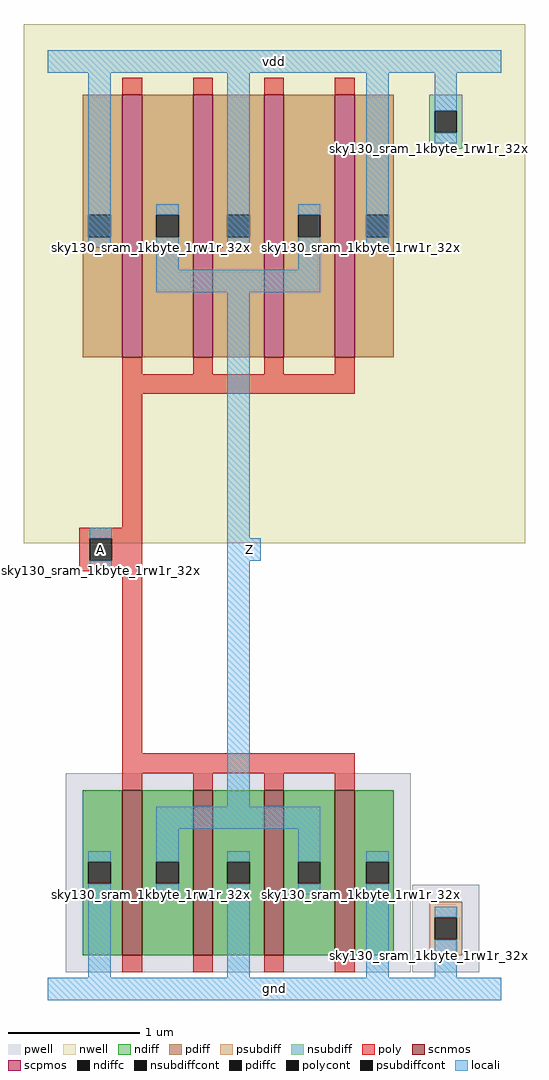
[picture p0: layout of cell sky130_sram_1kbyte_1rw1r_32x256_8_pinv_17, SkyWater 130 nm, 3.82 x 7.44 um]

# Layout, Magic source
magic
tech sky130A
magscale 1 2
<< nwell >>
rect -36 679 728 1471
<< pwell >>
rect 556 25 658 159
<< psubdiff >>
rect 582 109 632 133
rect 582 75 590 109
rect 624 75 632 109
rect 582 51 632 75
<< nsubdiff >>
rect 582 1339 632 1363
rect 582 1305 590 1339
rect 624 1305 632 1339
rect 582 1281 632 1305
<< psubdiffcont >>
rect 590 75 624 109
<< nsubdiffcont >>
rect 590 1305 624 1339
<< poly >>
rect 114 703 144 907
rect 48 687 144 703
rect 48 653 64 687
rect 98 653 144 687
rect 48 637 144 653
rect 114 359 144 637
<< polycont >>
rect 64 653 98 687
<< locali >>
rect 0 1397 692 1431
rect 62 1130 96 1397
rect 274 1130 308 1397
rect 486 1130 520 1397
rect 590 1339 624 1397
rect 590 1289 624 1305
rect 64 687 98 703
rect 64 637 98 653
rect 274 687 308 1096
rect 274 653 325 687
rect 274 244 308 653
rect 62 17 96 144
rect 274 17 308 144
rect 486 17 520 144
rect 590 109 624 125
rect 590 17 624 75
rect 0 -17 692 17
use sky130_sram_1kbyte_1rw1r_32x256_8_contact_16  sky130_sram_1kbyte_1rw1r_32x256_8_contact_16_0
transform 1 0 48 0 1 637
box 0 0 1 1
use sky130_sram_1kbyte_1rw1r_32x256_8_contact_29  sky130_sram_1kbyte_1rw1r_32x256_8_contact_29_0
transform 1 0 582 0 1 51
box 0 0 1 1
use sky130_sram_1kbyte_1rw1r_32x256_8_contact_28  sky130_sram_1kbyte_1rw1r_32x256_8_contact_28_0
transform 1 0 582 0 1 1281
box 0 0 1 1
use sky130_sram_1kbyte_1rw1r_32x256_8_nmos_m4_w1_260_sli_dli_da_p  sky130_sram_1kbyte_1rw1r_32x256_8_nmos_m4_w1_260_sli_dli_da_p_0
transform 1 0 54 0 1 51
box -26 -26 500 308
use sky130_sram_1kbyte_1rw1r_32x256_8_pmos_m4_w2_000_sli_dli_da_p  sky130_sram_1kbyte_1rw1r_32x256_8_pmos_m4_w2_000_sli_dli_da_p_0
transform 1 0 54 0 1 963
box -59 -56 533 454
<< labels >>
rlabel locali s 81 670 81 670 4 A
port 1 nsew
rlabel locali s 308 670 308 670 4 Z
port 2 nsew
rlabel locali s 346 0 346 0 4 gnd
port 3 nsew
rlabel locali s 346 1414 346 1414 4 vdd
port 4 nsew
<< properties >>
string FIXED_BBOX 0 0 692 1414
string GDS_FILE $PDKPATH/libs.ref/sky130_sram_macros/gds/sky130_sram_1kbyte_1rw1r_32x256_8.gds
string GDS_END 355068
string GDS_START 352942
<< end >>

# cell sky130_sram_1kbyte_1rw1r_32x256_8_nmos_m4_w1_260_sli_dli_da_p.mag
magic
tech sky130A
magscale 1 2
<< pwell >>
rect -26 -26 500 278
<< scnmos >>
rect 60 0 90 252
rect 168 0 198 252
rect 276 0 306 252
rect 384 0 414 252
<< ndiff >>
rect 0 143 60 252
rect 0 109 8 143
rect 42 109 60 143
rect 0 0 60 109
rect 90 143 168 252
rect 90 109 112 143
rect 146 109 168 143
rect 90 0 168 109
rect 198 143 276 252
rect 198 109 220 143
rect 254 109 276 143
rect 198 0 276 109
rect 306 143 384 252
rect 306 109 328 143
rect 362 109 384 143
rect 306 0 384 109
rect 414 143 474 252
rect 414 109 432 143
rect 466 109 474 143
rect 414 0 474 109
<< ndiffc >>
rect 8 109 42 143
rect 112 109 146 143
rect 220 109 254 143
rect 328 109 362 143
rect 432 109 466 143
<< poly >>
rect 60 278 414 308
rect 60 252 90 278
rect 168 252 198 278
rect 276 252 306 278
rect 384 252 414 278
rect 60 -26 90 0
rect 168 -26 198 0
rect 276 -26 306 0
rect 384 -26 414 0
<< locali >>
rect 112 193 362 227
rect 8 143 42 159
rect 8 93 42 109
rect 112 143 146 193
rect 112 93 146 109
rect 220 143 254 159
rect 220 93 254 109
rect 328 143 362 193
rect 328 93 362 109
rect 432 143 466 159
rect 432 93 466 109
use sky130_sram_1kbyte_1rw1r_32x256_8_contact_11  sky130_sram_1kbyte_1rw1r_32x256_8_contact_11_0
transform 1 0 424 0 1 93
box 0 0 1 1
use sky130_sram_1kbyte_1rw1r_32x256_8_contact_11  sky130_sram_1kbyte_1rw1r_32x256_8_contact_11_1
transform 1 0 320 0 1 93
box 0 0 1 1
use sky130_sram_1kbyte_1rw1r_32x256_8_contact_11  sky130_sram_1kbyte_1rw1r_32x256_8_contact_11_2
transform 1 0 212 0 1 93
box 0 0 1 1
use sky130_sram_1kbyte_1rw1r_32x256_8_contact_11  sky130_sram_1kbyte_1rw1r_32x256_8_contact_11_3
transform 1 0 104 0 1 93
box 0 0 1 1
use sky130_sram_1kbyte_1rw1r_32x256_8_contact_11  sky130_sram_1kbyte_1rw1r_32x256_8_contact_11_4
transform 1 0 0 0 1 93
box 0 0 1 1
<< labels >>
rlabel locali s 237 126 237 126 4 S
port 1 nsew
rlabel locali s 449 126 449 126 4 S
port 1 nsew
rlabel locali s 25 126 25 126 4 S
port 1 nsew
rlabel locali s 237 210 237 210 4 D
port 2 nsew
rlabel poly s 237 293 237 293 4 G
port 3 nsew
<< properties >>
string FIXED_BBOX -25 -26 499 308
string GDS_FILE $PDKPATH/libs.ref/sky130_sram_macros/gds/sky130_sram_1kbyte_1rw1r_32x256_8.gds
string GDS_END 95778
string GDS_START 94224
<< end >>

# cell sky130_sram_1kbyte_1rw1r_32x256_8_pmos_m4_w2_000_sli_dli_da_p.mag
magic
tech sky130A
magscale 1 2
<< nwell >>
rect -54 284 528 454
rect -59 116 533 284
rect -54 -54 528 116
<< scpmos >>
rect 60 0 90 400
rect 168 0 198 400
rect 276 0 306 400
rect 384 0 414 400
<< pdiff >>
rect 0 217 60 400
rect 0 183 8 217
rect 42 183 60 217
rect 0 0 60 183
rect 90 217 168 400
rect 90 183 112 217
rect 146 183 168 217
rect 90 0 168 183
rect 198 217 276 400
rect 198 183 220 217
rect 254 183 276 217
rect 198 0 276 183
rect 306 217 384 400
rect 306 183 328 217
rect 362 183 384 217
rect 306 0 384 183
rect 414 217 474 400
rect 414 183 432 217
rect 466 183 474 217
rect 414 0 474 183
<< pdiffc >>
rect 8 183 42 217
rect 112 183 146 217
rect 220 183 254 217
rect 328 183 362 217
rect 432 183 466 217
<< poly >>
rect 60 400 90 426
rect 168 400 198 426
rect 276 400 306 426
rect 384 400 414 426
rect 60 -26 90 0
rect 168 -26 198 0
rect 276 -26 306 0
rect 384 -26 414 0
rect 60 -56 414 -26
<< locali >>
rect 8 217 42 233
rect 8 167 42 183
rect 112 217 146 233
rect 112 133 146 183
rect 220 217 254 233
rect 220 167 254 183
rect 328 217 362 233
rect 328 133 362 183
rect 432 217 466 233
rect 432 167 466 183
rect 112 99 362 133
use sky130_sram_1kbyte_1rw1r_32x256_8_contact_12  sky130_sram_1kbyte_1rw1r_32x256_8_contact_12_0
transform 1 0 424 0 1 167
box 0 0 1 1
use sky130_sram_1kbyte_1rw1r_32x256_8_contact_12  sky130_sram_1kbyte_1rw1r_32x256_8_contact_12_1
transform 1 0 320 0 1 167
box 0 0 1 1
use sky130_sram_1kbyte_1rw1r_32x256_8_contact_12  sky130_sram_1kbyte_1rw1r_32x256_8_contact_12_2
transform 1 0 212 0 1 167
box 0 0 1 1
use sky130_sram_1kbyte_1rw1r_32x256_8_contact_12  sky130_sram_1kbyte_1rw1r_32x256_8_contact_12_3
transform 1 0 104 0 1 167
box 0 0 1 1
use sky130_sram_1kbyte_1rw1r_32x256_8_contact_12  sky130_sram_1kbyte_1rw1r_32x256_8_contact_12_4
transform 1 0 0 0 1 167
box 0 0 1 1
<< labels >>
rlabel locali s 25 200 25 200 4 S
port 1 nsew
rlabel locali s 449 200 449 200 4 S
port 1 nsew
rlabel locali s 237 200 237 200 4 S
port 1 nsew
rlabel locali s 237 116 237 116 4 D
port 2 nsew
rlabel poly s 237 -41 237 -41 4 G
port 3 nsew
<< properties >>
string FIXED_BBOX -54 -56 528 116
string GDS_FILE $PDKPATH/libs.ref/sky130_sram_macros/gds/sky130_sram_1kbyte_1rw1r_32x256_8.gds
string GDS_END 97490
string GDS_START 95872
<< end >>
